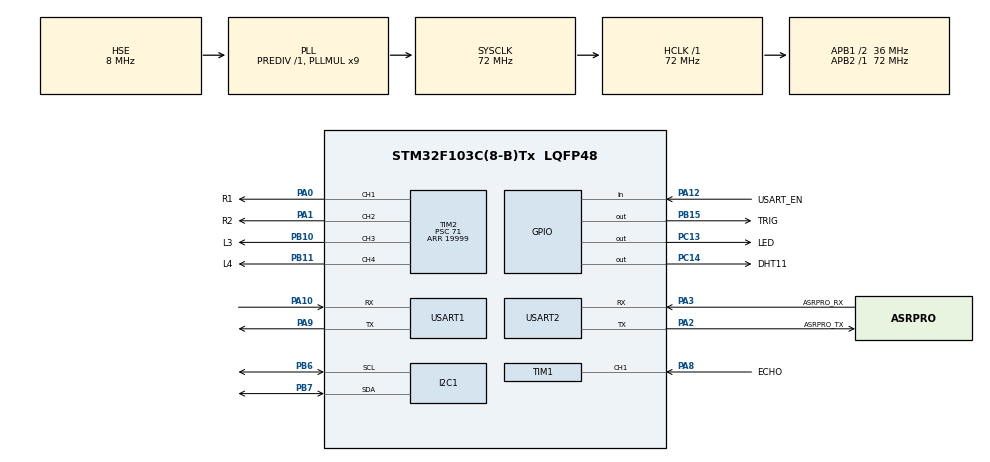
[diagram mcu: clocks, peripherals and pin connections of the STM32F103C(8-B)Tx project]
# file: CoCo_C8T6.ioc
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Mcu.Family=STM32F1
Mcu.Name=STM32F103C(8-B)Tx
Mcu.Package=LQFP48
NVIC.I2C1_ER_IRQn=true\:1\:0\:true\:false\:true\:true\:true\:true
NVIC.I2C1_EV_IRQn=true\:1\:0\:true\:false\:true\:true\:true\:true
NVIC.PriorityGroup=NVIC_PRIORITYGROUP_4
NVIC.TIM1_BRK_IRQn=true\:1\:0\:true\:false\:true\:true\:true\:true
NVIC.TIM1_CC_IRQn=true\:1\:0\:true\:false\:true\:true\:true\:true
NVIC.TIM1_TRG_COM_IRQn=true\:1\:0\:true\:false\:true\:true\:true\:true
NVIC.TIM1_UP_IRQn=true\:1\:0\:true\:false\:true\:true\:true\:true
NVIC.TIM3_IRQn=true\:1\:0\:true\:false\:true\:true\:true\:true
NVIC.USART1_IRQn=true\:0\:0\:false\:false\:true\:true\:true\:true
NVIC.USART2_IRQn=true\:0\:0\:false\:false\:true\:true\:true\:true
PA0-WKUP.GPIO_Label=R1
PA0-WKUP.Signal=S_TIM2_CH1_ETR
PA1.GPIO_Label=R2
PA1.Signal=S_TIM2_CH2
PA10.Mode=Asynchronous
PA10.Signal=USART1_RX
PA12.GPIO_Label=USART_EN
PA12.GPIO_PuPd=GPIO_PULLDOWN
PA12.Signal=GPIO_Input
PA13.Mode=Serial_Wire
PA13.Signal=SYS_JTMS-SWDIO
PA14.Mode=Serial_Wire
PA14.Signal=SYS_JTCK-SWCLK
PA2.GPIO_Label=ASRPRO_TX
PA2.Mode=Asynchronous
PA2.Signal=USART2_TX
PA3.GPIO_Label=ASRPRO_RX
PA3.Mode=Asynchronous
PA3.Signal=USART2_RX
PA8.GPIO_Label=ECHO
PA8.Signal=S_TIM1_CH1
PA9.Mode=Asynchronous
PA9.Signal=USART1_TX
PB10.GPIO_Label=L3
PB10.Signal=S_TIM2_CH3
PB11.GPIO_Label=L4
PB11.Signal=S_TIM2_CH4
PB15.GPIO_Label=TRIG
PB15.GPIO_Speed=GPIO_SPEED_FREQ_HIGH
PB15.Signal=GPIO_Output
PB6.Mode=I2C
PB6.Signal=I2C1_SCL
PB7.Mode=I2C
PB7.Signal=I2C1_SDA
PC13-TAMPER-RTC.GPIO_Label=LED
PC13-TAMPER-RTC.PinState=GPIO_PIN_SET
PC13-TAMPER-RTC.Signal=GPIO_Output
PC14-OSC32_IN.GPIO_Label=DHT11
PC14-OSC32_IN.GPIO_Speed=GPIO_SPEED_FREQ_HIGH
PC14-OSC32_IN.Signal=GPIO_Output
PD0-OSC_IN.Mode=HSE-External-Oscillator
PD0-OSC_IN.Signal=RCC_OSC_IN
PD1-OSC_OUT.Mode=HSE-External-Oscillator
PD1-OSC_OUT.Signal=RCC_OSC_OUT
ProjectManager.HeapSize=0x200
ProjectManager.StackSize=0x400
ProjectManager.TargetToolchain=MDK-ARM V5.32
RCC.AHBFreq_Value=72000000
RCC.APB1CLKDivider=RCC_HCLK_DIV2
RCC.APB1Freq_Value=36000000
RCC.APB1TimFreq_Value=72000000
RCC.APB2Freq_Value=72000000
RCC.APB2TimFreq_Value=72000000
RCC.HCLKFreq_Value=72000000
RCC.PLLMUL=RCC_PLL_MUL9
RCC.PLLSourceVirtual=RCC_PLLSOURCE_HSE
RCC.SYSCLKFreq_VALUE=72000000
RCC.SYSCLKSource=RCC_SYSCLKSOURCE_PLLCLK
RCC.USBFreq_Value=72000000
SH.S_TIM1_CH1.0=TIM1_CH1,Input_Capture1_from_TI1
SH.S_TIM2_CH1_ETR.0=TIM2_CH1,PWM Generation1 CH1
SH.S_TIM2_CH2.0=TIM2_CH2,PWM Generation2 CH2
SH.S_TIM2_CH3.0=TIM2_CH3,PWM Generation3 CH3
SH.S_TIM2_CH4.0=TIM2_CH4,PWM Generation4 CH4
TIM1.Channel-Input_Capture1_from_TI1=TIM_CHANNEL_1
TIM1.Prescaler=71
TIM2.AutoReloadPreload=TIM_AUTORELOAD_PRELOAD_ENABLE
TIM2.Channel-PWM\ Generation1\ CH1=TIM_CHANNEL_1
TIM2.Channel-PWM\ Generation2\ CH2=TIM_CHANNEL_2
TIM2.Channel-PWM\ Generation3\ CH3=TIM_CHANNEL_3
TIM2.Channel-PWM\ Generation4\ CH4=TIM_CHANNEL_4
TIM2.Period=19999
TIM2.Prescaler=71
TIM3.Prescaler=71
USART1.VirtualMode=VM_ASYNC
USART2.VirtualMode=VM_ASYNC
VP_TIM1_VS_ClockSourceINT.Mode=Internal
VP_TIM2_VS_ClockSourceINT.Mode=Internal
VP_TIM3_VS_ClockSourceINT.Mode=Internal
board=custom

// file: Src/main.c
/* USER CODE BEGIN Header */
/**
  ******************************************************************************
  * @file           : main.c
  * @brief          : Main program body
  ******************************************************************************
  * @attention
  *
  * Copyright (c) 2021 STMicroelectronics.
  * All rights reserved.
  *
  * This software is licensed under terms that can be found in the LICENSE file
  * in the root directory of this software component.
  * If no LICENSE file comes with this software, it is provided AS-IS.
  *
  ******************************************************************************
  */
/* USER CODE END Header */
#include "main.h"
#include "i2c.h"
#include "tim.h"
#include "usart.h"
#include "gpio.h"

/* USER CODE BEGIN Includes */
#include "bsp.h"
#include "oled.h"
#include "DHT11.h"
#include "stdio.h"
/* USER CODE END Includes */

void SystemClock_Config(void);
/* USER CODE BEGIN PFP */
void OLED_Init1(void);
/* USER CODE END PFP */

int main(void)
{

  /* MCU Configuration--------------------------------------------------------*/

  /* Reset of all peripherals, Initializes the Flash interface and the Systick. */
  HAL_Init();

  /* Configure the system clock */
  SystemClock_Config();

  /* Initialize all configured peripherals */
  MX_GPIO_Init();
  MX_I2C1_Init();
  MX_TIM1_Init();
  MX_TIM2_Init();
  MX_TIM3_Init();
  MX_USART1_UART_Init();
  MX_USART2_UART_Init();
  /* USER CODE BEGIN 2 */
//HAL_Delay(50);
////缺点：必需与OLED屏幕连接成功，否则程序卡死
//OLED_Init();
//OLED_Init1();//FLASH不够
//HAL_UART_Receive_IT(&huart1,&rxdat,1);
//HAL_UART_Receive_IT(&huart2,&rxdat2,1);
HAL_TIM_PWM_Start(&htim2,TIM_CHANNEL_1);
HAL_TIM_PWM_Start(&htim2,TIM_CHANNEL_2);
HAL_TIM_PWM_Start(&htim2,TIM_CHANNEL_3);
HAL_TIM_PWM_Start(&htim2,TIM_CHANNEL_4);
////开启TIM2的捕获通道2，并且开启捕获中断
//HAL_TIM_IC_Start_IT(&htim1,TIM_CHANNEL_1);
////缺点：必需与DHT11连接成功，否则程序卡死
//while(DHT11_Init())
Stand();
  /* USER CODE END 2 */

  /* Infinite loop */
  /* USER CODE BEGIN WHILE */
  while (1)
  {
//     Advance();
     HAL_GPIO_TogglePin(GPIOC,LED_Pin);
     HAL_Delay(200);
//   Rx_Display();
//   OLED_Display();
//   Exercise();
//   Phy_Display();
//   Sleep_Display();
//   LED_Display();
//   Sy_proc();
    /* USER CODE END WHILE */

  }
}

void SystemClock_Config(void)
{
  RCC_OscInitTypeDef RCC_OscInitStruct = {0};
  RCC_ClkInitTypeDef RCC_ClkInitStruct = {0};

  /** Initializes the RCC Oscillators according to the specified parameters
  * in the RCC_OscInitTypeDef structure.
  */
  RCC_OscInitStruct.OscillatorType = RCC_OSCILLATORTYPE_HSE;
  RCC_OscInitStruct.HSEState = RCC_HSE_ON;
  RCC_OscInitStruct.HSEPredivValue = RCC_HSE_PREDIV_DIV1;
  RCC_OscInitStruct.HSIState = RCC_HSI_ON;
  RCC_OscInitStruct.PLL.PLLState = RCC_PLL_ON;
  RCC_OscInitStruct.PLL.PLLSource = RCC_PLLSOURCE_HSE;
  RCC_OscInitStruct.PLL.PLLMUL = RCC_PLL_MUL9;
  if (HAL_RCC_OscConfig(&RCC_OscInitStruct) != HAL_OK)
  {
    Error_Handler();
  }

  /** Initializes the CPU, AHB and APB buses clocks
  */
  RCC_ClkInitStruct.ClockType = RCC_CLOCKTYPE_HCLK|RCC_CLOCKTYPE_SYSCLK
                              |RCC_CLOCKTYPE_PCLK1|RCC_CLOCKTYPE_PCLK2;
  RCC_ClkInitStruct.SYSCLKSource = RCC_SYSCLKSOURCE_PLLCLK;
  RCC_ClkInitStruct.AHBCLKDivider = RCC_SYSCLK_DIV1;
  RCC_ClkInitStruct.APB1CLKDivider = RCC_HCLK_DIV2;
  RCC_ClkInitStruct.APB2CLKDivider = RCC_HCLK_DIV1;

  if (HAL_RCC_ClockConfig(&RCC_ClkInitStruct, FLASH_LATENCY_2) != HAL_OK)
  {
    Error_Handler();
  }
}

/* USER CODE BEGIN 4 */
void OLED_Init1()
{
   for(uint8_t i = 0;i < 64;i++)
   {
      OLED_NewFrame();
      OLED_PrintASCIIString(45,20,"Hello",&afont16x8,OLED_COLOR_NORMAL);
      OLED_DrawCircle(64,32,i,OLED_COLOR_NORMAL);
      OLED_DrawCircle(64,32,i*2,OLED_COLOR_NORMAL);
      if(i==63)
      {
         OLED_NewFrame();
         OLED_PrintASCIIString(45,20,"Hello",&afont16x8,OLED_COLOR_NORMAL);
         OLED_PrintASCIIString(45,50,"World",&afont16x8,OLED_COLOR_NORMAL);
         OLED_ShowFrame();
         HAL_Delay(1000);
      }
      OLED_ShowFrame();
   }
}
/* USER CODE END 4 */

void Error_Handler(void)
{
  __disable_irq();
  while (1)
  {
  }
}
